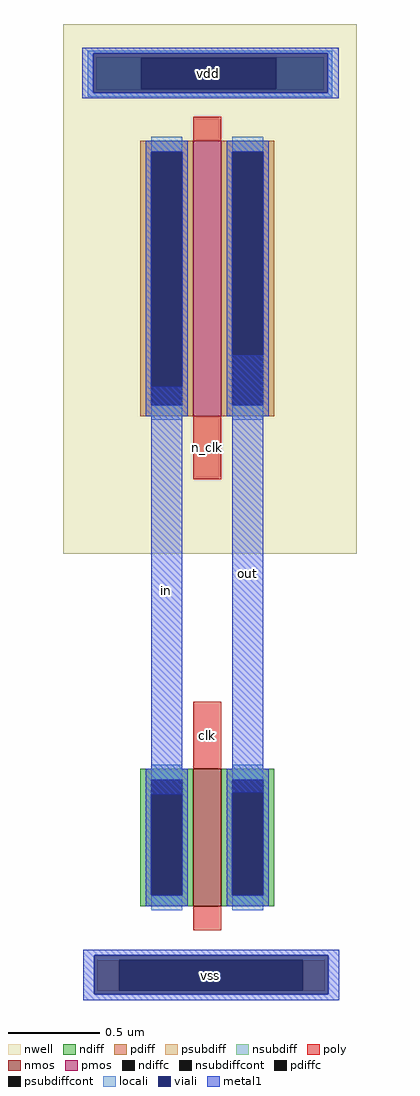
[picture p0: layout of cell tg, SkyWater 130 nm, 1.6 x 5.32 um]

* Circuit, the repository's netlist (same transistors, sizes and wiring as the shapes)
* NGSPICE file created from tg.ext - technology: sky130A

.subckt sky130_fd_pr__nfet_01v8_KRUHEH a_15_n75# a_n15_n101# a_n73_n75# VSUBS
X0 a_15_n75# a_n15_n101# a_n73_n75# VSUBS sky130_fd_pr__nfet_01v8 ad=0.2175 pd=2.08 as=0.2175 ps=2.08 w=0.75 l=0.15
.ends

.subckt sky130_fd_pr__pfet_01v8_MDJ67A a_15_n150# a_n15_n176# a_n73_n150# w_n109_n212#
X0 a_15_n150# a_n15_n176# a_n73_n150# w_n109_n212# sky130_fd_pr__pfet_01v8 ad=0.435 pd=3.58 as=0.435 ps=3.58 w=1.5 l=0.15
.ends

Xsky130_fd_pr__nfet_01v8_KRUHEH_0 out clk in VSUBS sky130_fd_pr__nfet_01v8_KRUHEH
Xsky130_fd_pr__pfet_01v8_MDJ67A_0 out n_clk in grid_0/w_n61_476# sky130_fd_pr__pfet_01v8_MDJ67A
.end

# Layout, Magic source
magic
tech sky130A
magscale 1 2
<< poly >>
rect 142 567 172 636
rect 142 252 172 325
<< metal1 >>
rect 96 224 130 668
rect 184 226 218 702
use grid  grid_0
transform 1 0 61 0 1 10
box -61 -10 259 1053
use sky130_fd_pr__nfet_01v8_KRUHEH  sky130_fd_pr__nfet_01v8_KRUHEH_0
transform 1 0 157 0 1 177
box -73 -101 73 101
use sky130_fd_pr__pfet_01v8_MDJ67A  sky130_fd_pr__pfet_01v8_MDJ67A_0
transform 1 0 157 0 1 786
box -109 -212 109 212
<< labels >>
rlabel metal1 184 226 218 702 1 out
rlabel metal1 96 224 130 668 1 in
rlabel poly 142 567 172 636 1 n_clk
rlabel poly 142 252 172 325 1 clk
rlabel space 61 10 261 44 1 vss
rlabel space 85 992 232 1026 1 vdd
<< end >>

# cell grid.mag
magic
tech sky130A
magscale 1 2
<< nwell >>
rect -61 476 259 1053
<< psubdiff >>
rect -24 0 0 34
rect 200 0 224 34
<< nsubdiff >>
rect -25 1016 223 1017
rect -25 982 24 1016
rect 171 982 223 1016
rect -25 981 223 982
<< psubdiffcont >>
rect 0 0 200 34
<< nsubdiffcont >>
rect 24 982 171 1016
<< locali >>
rect -34 1021 232 1024
rect -34 978 -28 1021
rect 227 978 232 1021
rect -34 974 232 978
<< viali >>
rect -28 1016 227 1021
rect -28 982 24 1016
rect 24 982 171 1016
rect 171 982 227 1016
rect -28 978 227 982
rect -27 34 228 39
rect -27 0 0 34
rect 0 0 200 34
rect 200 0 228 34
rect -27 -4 228 0
<< metal1 >>
rect -40 1021 239 1027
rect -40 978 -28 1021
rect 227 978 239 1021
rect -40 972 239 978
rect -39 39 240 45
rect -39 -4 -27 39
rect 228 -4 240 39
rect -39 -10 240 -4
<< end >>

# cell sky130_fd_pr__nfet_01v8_KRUHEH: kit device sky130_fd_pr__nfet_01v8, w 0.75 l 0.150 m 1 nf 1 diffcov 100 polycov 100 guard 0 glc 0 grc 0 gtc 0 gbc 0 tbcov 100 rlcov 100 topc 0 botc 0 poverlap 0 doverlap 0 lmin 0.15 wmin 0.42 class mosfet compatible {sky130_fd_pr__nfet_01v8 sky130_fd_pr__nfet_01v8_lvt sky130_fd_bs_flash__special_sonosfet_star sky130_fd_pr__nfet_g5v0d10v5 sky130_fd_pr__nfet_05v0_nvt sky130_fd_pr__nfet_03v3_nvt} full_metal 0 viasrc 100 viadrn 100 viagate 100 viagb 0 viagr 0 viagl 0 viagt 0

# cell sky130_fd_pr__pfet_01v8_MDJ67A: kit device sky130_fd_pr__pfet_01v8, w 1.5 l 0.15 m 1 nf 1 diffcov 100 polycov 100 guard 0 glc 0 grc 0 gtc 0 gbc 0 tbcov 100 rlcov 100 topc 0 botc 0 poverlap 0 doverlap 0 lmin 0.15 wmin 0.42 class mosfet compatible {sky130_fd_pr__pfet_01v8 sky130_fd_pr__pfet_01v8_lvt sky130_fd_pr__pfet_01v8_hvt sky130_fd_pr__pfet_g5v0d10v5} full_metal 0 viasrc 100 viadrn 100 viagate 100 viagb 0 viagr 0 viagl 0 viagt 0
